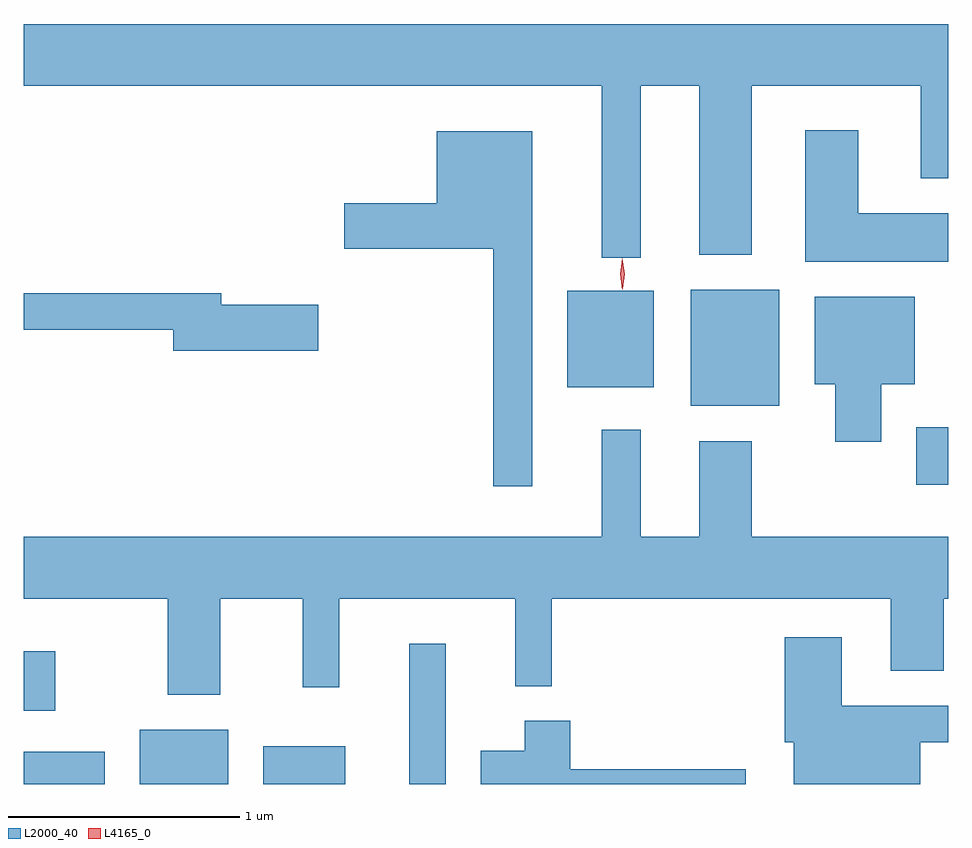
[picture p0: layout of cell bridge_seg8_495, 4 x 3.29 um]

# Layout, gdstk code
import gdstk
lib = gdstk.Library(unit=1e-6, precision=1e-09)
def R(c, l, rs):  # rectangles x0, y0, x1, y1
    for r in rs: c.add(gdstk.rectangle(r[:2], r[2:], *l))
def P(c, l, *ps):  # polygons
    for p in ps: c.add(gdstk.Polygon(p, *l))
L2000_40 = (2000, 40)
L4165_0 = (4165, 0)

bridge_seg8_495 = lib.new_cell('bridge_seg8_495')
R(bridge_seg8_495, L2000_40, [(378.159,1893.335,378.509,1893.474), (378.661,1893.335,379.044,1893.569), (379.196,1893.335,379.549,1893.499), (379.826,1893.335,379.984,1893.943), (378.159,1893.651,378.294,1893.909), (382.021,1894.631,382.159,1894.879), (381.046,1894.971,381.429,1895.474), (380.511,1895.051,380.884,1895.469)])
P(bridge_seg8_495, L2000_40, [(380.829,1896.356),(381.081,1896.356),(381.081,1895.626),(381.309,1895.626),(381.309,1896.356),(382.041,1896.356),(382.041,1895.956),(382.159,1895.956),(382.159,1896.624),(378.159,1896.624),(378.159,1896.356),(380.661,1896.356),(380.661,1895.613),(380.829,1895.613)],
  [(382.159,1895.804),(381.769,1895.804),(381.769,1896.164),(381.541,1896.164),(381.541,1895.596),(382.159,1895.596)],
  [(380.359,1896.159),(379.946,1896.159),(379.946,1895.849),(379.546,1895.849),(379.546,1895.651),(380.191,1895.651),(380.191,1894.623),(380.359,1894.623)],
  [(379.434,1895.409),(379.014,1895.409),(379.014,1895.459),(378.159,1895.459),(378.159,1895.301),(378.806,1895.301),(378.806,1895.211),(379.434,1895.211)],
  [(381.869,1895.066),(382.014,1895.066),(382.014,1895.444),(381.581,1895.444),(381.581,1895.066),(381.671,1895.066),(381.671,1894.816),(381.869,1894.816)],
  [(379.009,1894.136),(379.366,1894.136),(379.366,1893.753),(379.524,1893.753),(379.524,1894.136),(380.286,1894.136),(380.286,1893.758),(380.444,1893.758),(380.444,1894.136),(381.911,1894.136),(381.911,1893.826),(382.139,1893.826),(382.139,1894.136),(382.159,1894.136),(382.159,1894.404),(381.309,1894.404),(381.309,1894.819),(381.081,1894.819),(381.081,1894.404),(380.829,1894.404),(380.829,1894.868),(380.661,1894.868),(380.661,1894.404),(378.159,1894.404),(378.159,1894.136),(378.781,1894.136),(378.781,1893.721),(379.009,1893.721)],
  [(382.039,1893.516),(382.159,1893.516),(382.159,1893.674),(381.699,1893.674),(381.699,1893.969),(381.451,1893.969),(381.451,1893.516),(381.491,1893.516),(381.491,1893.335),(382.039,1893.335)],
  [(381.284,1893.399),(380.524,1893.399),(380.524,1893.609),(380.326,1893.609),(380.326,1893.479),(380.136,1893.479),(380.136,1893.335),(381.284,1893.335)])
P(bridge_seg8_495, L4165_0, [(380.748,1895.474),(380.739,1895.542),(380.748,1895.61),(380.749,1895.61),(380.749,1895.61),(380.759,1895.542),(380.749,1895.474),(380.749,1895.474)],
  [(380.75,1895.478),(380.749,1895.479),(380.74,1895.543),(380.748,1895.607),(380.749,1895.607),(380.749,1895.607),(380.759,1895.543),(380.75,1895.479)])

lib.write_gds('bridge_seg8_495.gds')
